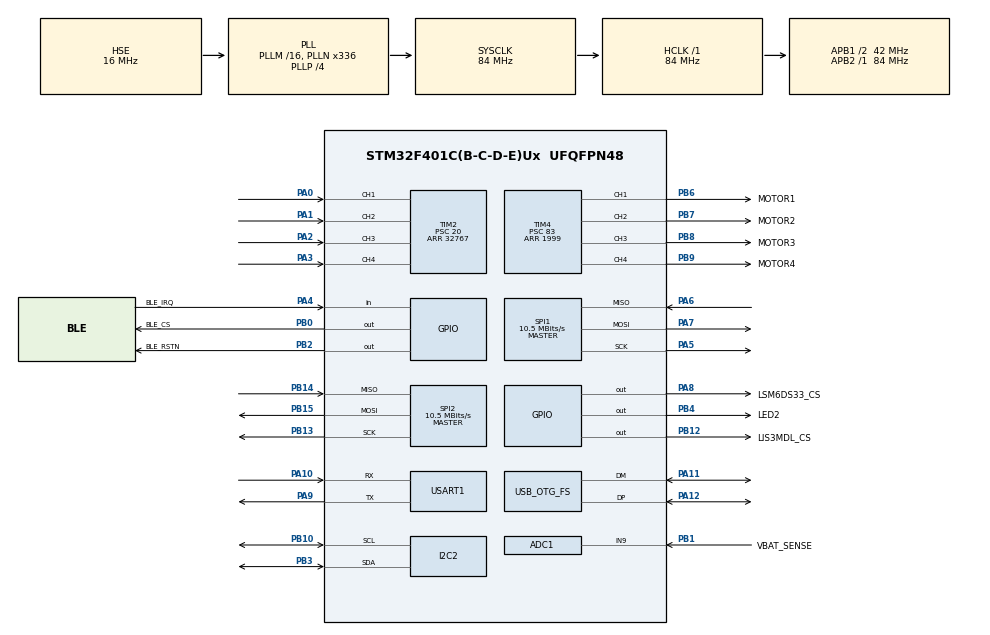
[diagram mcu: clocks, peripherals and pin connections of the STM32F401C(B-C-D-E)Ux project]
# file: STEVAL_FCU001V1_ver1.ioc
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ADC1.Channel-0\#ChannelRegularConversion=ADC_CHANNEL_9
ADC1.NbrOfConversionFlag=1
ADC1.Rank-0\#ChannelRegularConversion=1
ADC1.SamplingTime-0\#ChannelRegularConversion=ADC_SAMPLETIME_3CYCLES
ADC1.master=1
Mcu.Family=STM32F4
Mcu.Name=STM32F401C(B-C-D-E)Ux
Mcu.Package=UFQFPN48
NVIC.OTG_FS_IRQn=true\:3\:0\:true\:false\:true\:true\:true
NVIC.PriorityGroup=NVIC_PRIORITYGROUP_4
NVIC.SPI1_IRQn=true\:3\:0\:true\:false\:true\:true\:true
NVIC.SPI2_IRQn=true\:3\:0\:true\:false\:true\:true\:true
NVIC.TIM1_BRK_TIM9_IRQn=true\:3\:0\:true\:false\:true\:true\:true
NVIC.TIM2_IRQn=true\:2\:0\:true\:false\:true\:true\:true
NVIC.USART1_IRQn=true\:4\:0\:true\:false\:true\:true\:true
PA0-WKUP.GPIO_ModeDefaultPP=GPIO_MODE_AF_PP
PA0-WKUP.GPIO_PuPd=GPIO_PULLDOWN
PA0-WKUP.GPIO_Speed=GPIO_SPEED_FAST
PA0-WKUP.Signal=S_TIM2_CH1_ETR
PA1.GPIO_ModeDefaultPP=GPIO_MODE_AF_PP
PA1.GPIO_PuPd=GPIO_PULLDOWN
PA1.GPIO_Speed=GPIO_SPEED_FAST
PA1.Signal=S_TIM2_CH2
PA10.Mode=Asynchronous
PA10.Signal=USART1_RX
PA11.Mode=Device_Only
PA11.Signal=USB_OTG_FS_DM
PA12.Mode=Device_Only
PA12.Signal=USB_OTG_FS_DP
PA13.Mode=Serial-Wire
PA13.Signal=SYS_JTMS-SWDIO
PA14.Mode=Serial-Wire
PA14.Signal=SYS_JTCK-SWCLK
PA2.GPIO_ModeDefaultPP=GPIO_MODE_AF_PP
PA2.GPIO_PuPd=GPIO_PULLDOWN
PA2.GPIO_Speed=GPIO_SPEED_FAST
PA2.Signal=S_TIM2_CH3
PA3.GPIO_ModeDefaultPP=GPIO_MODE_AF_PP
PA3.GPIO_PuPd=GPIO_PULLDOWN
PA3.GPIO_Speed=GPIO_SPEED_FAST
PA3.Signal=S_TIM2_CH4
PA4.GPIO_Label=BLE_IRQ
PA4.GPIO_Mode=GPIO_MODE_INPUT
PA4.GPIO_PuPd=GPIO_NOPULL
PA4.Signal=GPIO_Input
PA5.Mode=Full_Duplex_Master
PA5.Signal=SPI1_SCK
PA6.Mode=Full_Duplex_Master
PA6.Signal=SPI1_MISO
PA7.Mode=Full_Duplex_Master
PA7.Signal=SPI1_MOSI
PA8.GPIO_Label=LSM6DS33_CS
PA8.GPIO_ModeDefaultOutputPP=GPIO_MODE_OUTPUT_PP
PA8.GPIO_PuPd=GPIO_NOPULL
PA8.GPIO_Speed=GPIO_SPEED_LOW
PA8.Signal=GPIO_Output
PA9.Mode=Asynchronous
PA9.Signal=USART1_TX
PB0.GPIO_Label=BLE_CS
PB0.GPIO_ModeDefaultOutputPP=GPIO_MODE_OUTPUT_PP
PB0.GPIO_PuPd=GPIO_NOPULL
PB0.GPIO_Speed=GPIO_SPEED_LOW
PB0.Signal=GPIO_Output
PB1.GPIO_Label=VBAT_SENSE
PB1.GPIO_Mode=GPIO_MODE_ANALOG
PB1.GPIO_PuPd=GPIO_NOPULL
PB1.Signal=ADCx_IN9
PB10.Mode=I2C
PB10.Signal=I2C2_SCL
PB12.GPIO_Label=LIS3MDL_CS
PB12.GPIO_ModeDefaultOutputPP=GPIO_MODE_OUTPUT_PP
PB12.GPIO_PuPd=GPIO_NOPULL
PB12.GPIO_Speed=GPIO_SPEED_LOW
PB12.Signal=GPIO_Output
PB13.Mode=Full_Duplex_Master
PB13.Signal=SPI2_SCK
PB14.Mode=Full_Duplex_Master
PB14.Signal=SPI2_MISO
PB15.Mode=Full_Duplex_Master
PB15.Signal=SPI2_MOSI
PB2.GPIO_Label=BLE_RSTN
PB2.GPIO_ModeDefaultOutputPP=GPIO_MODE_OUTPUT_PP
PB2.GPIO_PuPd=GPIO_NOPULL
PB2.GPIO_Speed=GPIO_SPEED_LOW
PB2.Signal=GPIO_Output
PB3.Mode=I2C
PB3.Signal=I2C2_SDA
PB4.GPIO_Label=LED2
PB4.GPIO_ModeDefaultOutputPP=GPIO_MODE_OUTPUT_OD
PB4.GPIO_PuPd=GPIO_NOPULL
PB4.GPIO_Speed=GPIO_SPEED_LOW
PB4.Signal=GPIO_Output
PB6.GPIO_Label=MOTOR1
PB6.GPIO_ModeDefaultPP=GPIO_MODE_AF_PP
PB6.GPIO_PuPd=GPIO_NOPULL
PB6.GPIO_Speed=GPIO_SPEED_LOW
PB6.Signal=S_TIM4_CH1
PB7.GPIO_Label=MOTOR2
PB7.GPIO_ModeDefaultPP=GPIO_MODE_AF_PP
PB7.GPIO_PuPd=GPIO_NOPULL
PB7.GPIO_Speed=GPIO_SPEED_LOW
PB7.Signal=S_TIM4_CH2
PB8.GPIO_Label=MOTOR3
PB8.GPIO_ModeDefaultPP=GPIO_MODE_AF_PP
PB8.GPIO_PuPd=GPIO_NOPULL
PB8.GPIO_Speed=GPIO_SPEED_LOW
PB8.Signal=S_TIM4_CH3
PB9.GPIO_Label=MOTOR4
PB9.GPIO_ModeDefaultPP=GPIO_MODE_AF_PP
PB9.GPIO_PuPd=GPIO_NOPULL
PB9.GPIO_Speed=GPIO_SPEED_LOW
PB9.Signal=S_TIM4_CH4
PH0\ -\ OSC_IN.Mode=HSE-External-Oscillator
PH0\ -\ OSC_IN.Signal=RCC_OSC_IN
PH1\ -\ OSC_OUT.Mode=HSE-External-Oscillator
PH1\ -\ OSC_OUT.Signal=RCC_OSC_OUT
ProjectManager.HeapSize=0x200
ProjectManager.StackSize=0x400
ProjectManager.TargetToolchain=EWARM V7
RCC.48MHZClocksFreq_Value=48000000
RCC.AHBFreq_Value=84000000
RCC.APB1CLKDivider=RCC_HCLK_DIV2
RCC.APB1Freq_Value=42000000
RCC.APB1TimFreq_Value=84000000
RCC.APB2Freq_Value=84000000
RCC.APB2TimFreq_Value=84000000
RCC.CortexFreq_Value=84000000
RCC.HCLKFreq_Value=84000000
RCC.HSE_VALUE=16000000
RCC.HSI_VALUE=16000000
RCC.LSE_VALUE=32768
RCC.PLLN=336
RCC.PLLP=RCC_PLLP_DIV4
RCC.PLLQ=7
RCC.SYSCLKFreq_VALUE=84000000
RCC.SYSCLKSource=RCC_SYSCLKSOURCE_PLLCLK
RCC.VCOOutputFreq_Value=336000000
SH.ADCx_IN9.0=ADC1_IN9,IN9
SH.S_TIM2_CH1_ETR.0=TIM2_CH1,Input_Capture1_from_TI1
SH.S_TIM2_CH2.0=TIM2_CH2,Input_Capture2_from_TI2
SH.S_TIM2_CH3.0=TIM2_CH3,Input_Capture3_from_TI3
SH.S_TIM2_CH4.0=TIM2_CH4,Input_Capture4_from_TI4
SH.S_TIM4_CH1.0=TIM4_CH1,PWM Generation1 CH1
SH.S_TIM4_CH2.0=TIM4_CH2,PWM Generation2 CH2
SH.S_TIM4_CH3.0=TIM4_CH3,PWM Generation3 CH3
SH.S_TIM4_CH4.0=TIM4_CH4,PWM Generation4 CH4
SPI1.BaudRatePrescaler=SPI_BAUDRATEPRESCALER_8
SPI1.CalculateBaudRate=10.5 MBits/s
SPI1.Direction=SPI_DIRECTION_2LINES
SPI1.Mode=SPI_MODE_MASTER
SPI1.VirtualType=VM_MASTER
SPI2.BaudRatePrescaler=SPI_BAUDRATEPRESCALER_4
SPI2.CalculateBaudRate=10.5 MBits/s
SPI2.Direction=SPI_DIRECTION_2LINES
SPI2.Mode=SPI_MODE_MASTER
SPI2.VirtualType=VM_MASTER
TIM2.Channel-Input_Capture1_from_TI1=TIM_CHANNEL_1
TIM2.Channel-Input_Capture2_from_TI2=TIM_CHANNEL_2
TIM2.Channel-Input_Capture3_from_TI3=TIM_CHANNEL_3
TIM2.Channel-Input_Capture4_from_TI4=TIM_CHANNEL_4
TIM2.ICPolarity_CH1=TIM_INPUTCHANNELPOLARITY_BOTHEDGE
TIM2.ICPolarity_CH2=TIM_INPUTCHANNELPOLARITY_BOTHEDGE
TIM2.ICPolarity_CH3=TIM_INPUTCHANNELPOLARITY_BOTHEDGE
TIM2.ICPolarity_CH4=TIM_INPUTCHANNELPOLARITY_BOTHEDGE
TIM2.Period=32767
TIM2.Prescaler=20
TIM4.Channel-PWM\ Generation1\ CH1=TIM_CHANNEL_1
TIM4.Channel-PWM\ Generation2\ CH2=TIM_CHANNEL_2
TIM4.Channel-PWM\ Generation3\ CH3=TIM_CHANNEL_3
TIM4.Channel-PWM\ Generation4\ CH4=TIM_CHANNEL_4
TIM4.Period=1999
TIM4.Prescaler=83
TIM9.Period=1999
TIM9.Prescaler=839
USART1.VirtualMode=VM_ASYNC
USB_DEVICE.USBD_HandleTypeDef=hUsbDeviceFS
USB_DEVICE.VirtualMode=Cdc
USB_DEVICE.VirtualModeFS=Cdc_FS
USB_OTG_FS.VirtualMode=Device_Only
VP_TIM2_VS_ClockSourceINT.Mode=Internal
VP_TIM4_VS_ClockSourceINT.Mode=Internal
VP_TIM9_VS_ClockSourceINT.Mode=Internal
VP_USB_DEVICE_VS_USB_DEVICE_CDC_FS.Mode=CDC_FS
board=custom

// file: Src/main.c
/**
  ******************************************************************************
  * File Name          : main.c
  * Description        : Main program body
  ******************************************************************************
  *
  * COPYRIGHT(c) 2021 STMicroelectronics
  *
  * Redistribution and use in source and binary forms, with or without modification,
  * are permitted provided that the following conditions are met:
  *   1. Redistributions of source code must retain the above copyright notice,
  *      this list of conditions and the following disclaimer.
  *   2. Redistributions in binary form must reproduce the above copyright notice,
  *      this list of conditions and the following disclaimer in the documentation
  *      and/or other materials provided with the distribution.
  *   3. Neither the name of STMicroelectronics nor the names of its contributors
  *      may be used to endorse or promote products derived from this software
  *      without specific prior written permission.
  *
  * THIS SOFTWARE IS PROVIDED BY THE COPYRIGHT HOLDERS AND CONTRIBUTORS "AS IS"
  * AND ANY EXPRESS OR IMPLIED WARRANTIES, INCLUDING, BUT NOT LIMITED TO, THE
  * IMPLIED WARRANTIES OF MERCHANTABILITY AND FITNESS FOR A PARTICULAR PURPOSE ARE
  * DISCLAIMED. IN NO EVENT SHALL THE COPYRIGHT HOLDER OR CONTRIBUTORS BE LIABLE
  * FOR ANY DIRECT, INDIRECT, INCIDENTAL, SPECIAL, EXEMPLARY, OR CONSEQUENTIAL
  * DAMAGES (INCLUDING, BUT NOT LIMITED TO, PROCUREMENT OF SUBSTITUTE GOODS OR
  * SERVICES; LOSS OF USE, DATA, OR PROFITS; OR BUSINESS INTERRUPTION) HOWEVER
  * CAUSED AND ON ANY THEORY OF LIABILITY, WHETHER IN CONTRACT, STRICT LIABILITY,
  * OR TORT (INCLUDING NEGLIGENCE OR OTHERWISE) ARISING IN ANY WAY OUT OF THE USE
  * OF THIS SOFTWARE, EVEN IF ADVISED OF THE POSSIBILITY OF SUCH DAMAGE.
  *
  ******************************************************************************
  */

#include "stm32f4xx_hal.h"
#include "usb_device.h"

/* USER CODE BEGIN Includes */
#include "main.h"
#include "debug.h"
#include "config_drone.h"
#include "timer.h"
#include "rc.h"
#include "steval_fcu001_v1.h"
#include "steval_fcu001_v1_accelero.h"
#include "steval_fcu001_v1_gyro.h"
#include "steval_fcu001_v1_magneto.h"
#include "steval_fcu001_v1_pressure.h"
#include "steval_fcu001_v1_temperature.h"
#include "sensor_data.h"
#include "quaternion.h"
#include "ahrs.h"
#include "flight_control.h"
#include "motor.h"
#include "ble_status.h"
#include "SPBTLE_RF.h"
#include "bluenrg_gatt_server.h"
#include "sensor_service.h"
#include "bluenrg_utils.h"
#include "TargetFeatures.h"

#include "bluenrg_l2cap_aci.h"

#include "vl53l0x_api.h"
#include "vl53l0x_platform.h"

/* USER CODE END Includes */

ADC_HandleTypeDef hadc1;

I2C_HandleTypeDef hi2c2;

SPI_HandleTypeDef hspi1;
SPI_HandleTypeDef hspi2;

TIM_HandleTypeDef htim2;
TIM_HandleTypeDef htim4;
TIM_HandleTypeDef htim9;

UART_HandleTypeDef huart1;

void SystemClock_Config(void);
static void MX_GPIO_Init(void);
static void SystemClock_Config(void);
static void MX_ADC1_Init(void);
static void MX_SPI1_Init(void);
static void MX_SPI2_Init(void);
static void MX_TIM2_Init(void);
static void MX_TIM4_Init(void);
static void MX_TIM9_Init(void);
static void MX_USART1_UART_Init(void);
static void MX_I2C2_Init(void);

/* USER CODE BEGIN 0 */
P_PI_PIDControlTypeDef pid;
EulerAngleTypeDef euler_rc, euler_ahrs, euler_rc_fil, euler_rc_y_pre[4], euler_rc_x_pre[4];
AxesRaw_TypeDef acc, gyro, mag, acc_fil_int, gyro_fil_int, mag_fil_int;
AxesRaw_TypeDef_Float acc_fil, acc_y_pre[4], acc_x_pre[4], acc_ahrs_FIFO[FIFO_Order], acc_FIFO[FIFO_Order], acc_ahrs;
AxesRaw_TypeDef_Float gyro_fil, gyro_y_pre[4], gyro_x_pre[4], gyro_ahrs_FIFO[FIFO_Order], gyro_FIFO[FIFO_Order], gyro_ahrs;
AxesRaw_TypeDef_Float mag_fil;
AxesRaw_TypeDef acc_off_calc, gyro_off_calc, acc_offset, gyro_offset;
EulerAngleTypeDef euler_ahrs_offset;
int sensor_init_cali = 0, sensor_init_cali_count = 0;
int gyro_cali_count = 0;

typedef struct
{
	int16_t X_Degree;
	int16_t Y_Degree;
	int16_t Z_Degree;
}Attitude_Degree;

typedef struct
{
	float a1, a2, b0, b1, b2;
}IIR_Coeff;

//sensor filter
//7hz, 800hz
//IIR_Coeff gyro_fil_coeff = {1.922286512869545,  -0.92519529534950118, 0.00072719561998898304, 0.0014543912399779661, 0.00072719561998898304};

//15hz, 800hz
//IIR_Coeff gyro_fil_coeff = {1.8337326589246479,  -0.84653197479202391, 0.003199828966843966, 0.0063996579336879321, 0.003199828966843966};

//30hz, 800hz
//IIR_Coeff gyro_fil_coeff = {1.66920314293119312,  -0.71663387350415764, 0.011857682643241156, 0.023715365286482312, 0.011857682643241156};

//60hz, 800hz
//IIR_Coeff gyro_fil_coeff = {1.3489677452527946 ,  -0.51398189421967566, 0.041253537241720303, 0.082507074483440607, 0.041253537241720303};

//100hz, 800hz
IIR_Coeff gyro_fil_coeff = {0.94280904158206336,  -0.33333333333333343, 0.09763107293781749 , 0.19526214587563498 , 0.09763107293781749 };

Attitude_Degree  Fly, Fly_offset, Fly_origin;
Gyro_Rad gyro_rad, gyro_degree, gyro_cali_degree;
MotorControlTypeDef motor_pwm;
int count1 = 0, count2 = 0;
AHRS_State_TypeDef ahrs;
float press, press_zero_level;
float temperature;

uint32_t VBAT_Sense;
float VBAT = 0;

uint8_t tmp_lis2mdl;
SensorAxes_t tmp_mag;

/* BLE */
extern uint8_t set_connectable;
uint16_t service_handle, dev_name_char_handle, appearance_char_handle;
uint32_t ConnectionBleStatus=0;
uint8_t BufferToWrite[256];
int32_t BytesToWrite;

/* Time of Flight sensor */
VL53L0X_RangingMeasurementData_t RangingMeasurementData;
VL53L0X_Dev_t *Dev;

/* USER CODE END 0 */

int main(void)
{

  /* USER CODE BEGIN 1 */
	int16_t pid_interval, i;

	int mytimcnt = 0;
	acc_fil.AXIS_X = 0;
	acc_fil.AXIS_Y = 0;
	acc_fil.AXIS_Z = 0;
	mag_fil.AXIS_X = 0;
	mag_fil.AXIS_Y = 0;
	mag_fil.AXIS_Z = 0;
	gyro_fil.AXIS_X = 0;
	gyro_fil.AXIS_Y = 0;
	gyro_fil.AXIS_Z = 0;
	euler_rc_fil.thx = 0;
	euler_rc_fil.thy = 0;
	euler_rc_fil.thz = 0;
	acc_off_calc.AXIS_X = 0;
	acc_off_calc.AXIS_Y = 0;
	acc_off_calc.AXIS_Z = 0;
	gyro_off_calc.AXIS_X = 0;
	gyro_off_calc.AXIS_Y = 0;
	gyro_off_calc.AXIS_Z = 0;
	acc_offset.AXIS_X = 0;
	acc_offset.AXIS_Y = 0;
	acc_offset.AXIS_Z = 1000;
	gyro_offset.AXIS_X = 0;
	gyro_offset.AXIS_Y = 0;
	gyro_offset.AXIS_Z = 0;
	euler_rc.thz = euler_ahrs.thz;
	euler_ahrs_offset.thx = 0;
	euler_ahrs_offset.thy = 0;

	for(i=0;i<4;i++)
	{
		acc_y_pre[i].AXIS_X = 0;
		acc_y_pre[i].AXIS_Y = 0;
		acc_y_pre[i].AXIS_Z = 0;
		acc_x_pre[i].AXIS_X = 0;
		acc_x_pre[i].AXIS_Y = 0;
		acc_x_pre[i].AXIS_Z = 0;
		gyro_y_pre[i].AXIS_X = 0;
		gyro_y_pre[i].AXIS_Y = 0;
		gyro_y_pre[i].AXIS_Z = 0;
		gyro_x_pre[i].AXIS_X = 0;
		gyro_x_pre[i].AXIS_Y = 0;
		gyro_x_pre[i].AXIS_Z = 0;
		euler_rc_y_pre[i].thx = 0;
		euler_rc_y_pre[i].thy = 0;
		euler_rc_y_pre[i].thz = 0;
		euler_rc_x_pre[i].thx = 0;
		euler_rc_x_pre[i].thy = 0;
		euler_rc_x_pre[i].thz = 0;
	}

  /* USER CODE END 1 */

  /* MCU Configuration----------------------------------------------------------*/

  /* Reset of all peripherals, Initializes the Flash interface and the Systick. */
  HAL_Init();

  /* Configure the system clock */
  SystemClock_Config();

  /* Initialize all configured peripherals */
  MX_GPIO_Init();
  SystemClock_Config();
  MX_ADC1_Init();
  MX_SPI1_Init();
  MX_SPI2_Init();
  MX_TIM2_Init();
  MX_TIM4_Init();
  MX_TIM9_Init();
  MX_USART1_UART_Init();
  MX_USB_DEVICE_Init();
  MX_I2C2_Init();

  /* USER CODE BEGIN 2 */

	PRINTF("STEVAL-FCU001V1 FW rev.1.0 - Sep 2017\n\n");

	//  Initialize Onboard LED
	BSP_LED_Init(LED1);
	BSP_LED_Init(LED2);
	BSP_LED_Off(LED1);
	BSP_LED_Off(LED2);

	/* Configure and disable all the Chip Select pins for sensors on SPI*/
	Sensor_IO_SPI_CS_Init_All();

	/* Initialize and Enable the available sensors on SPI*/
	initializeAllSensors();
	enableAllSensors();

	/* Initialize settings for 6-axis MEMS Accelerometer */
	/* ODR 6.6kHz */
	/* FS 4g */
	/* Analog Filter Bandwith @ 1500Hz */
	/* ODR/2 low pass filtered sent to composite filter */
	/* Low pass filter enabled @ ODR/400 */
	//BSP_ACCELERO_Set_ODR_Value(LSM6DSL_X_0_handle, 1660.0);       /* ODR 1.6kHz */
	BSP_ACCELERO_Set_ODR_Value(LSM6DSL_X_0_handle, 6660.0);       /* ODR 6.6kHz */
	BSP_ACCELERO_Set_FS(LSM6DSL_X_0_handle, FS_MID);                   /* FS 4g */
	//LSM6DSL_ACC_GYRO_W_InComposit(LSM6DSL_X_0_handle, LSM6DSL_ACC_GYRO_IN_ODR_DIV_4);   /* ODR/4 low pass filtered sent to composite filter */
	LSM6DSL_ACC_GYRO_W_InComposit(LSM6DSL_X_0_handle, LSM6DSL_ACC_GYRO_IN_ODR_DIV_2);   /* ODR/2 low pass filtered sent to composite filter */
	LSM6DSL_ACC_GYRO_W_LowPassFiltSel_XL(LSM6DSL_X_0_handle, LSM6DSL_ACC_GYRO_LPF2_XL_ENABLE); /* Enable LPF2 filter in composite filter block */
	//LSM6DSL_ACC_GYRO_W_HPCF_XL(LSM6DSL_X_0_handle, LSM6DSL_ACC_GYRO_HPCF_XL_DIV4); /* Low pass filter @ ODR/50 */
	LSM6DSL_ACC_GYRO_W_HPCF_XL(LSM6DSL_X_0_handle, LSM6DSL_ACC_GYRO_HPCF_XL_DIV100); /* Low pass filter @ ODR/100 */
	//LSM6DSL_ACC_GYRO_W_HPCF_XL(LSM6DSL_X_0_handle, LSM6DSL_ACC_GYRO_HPCF_XL_DIV400); /* Low pass filter @ ODR/400 */
	uint8_t tmp_6axis_reg_value;
	BSP_ACCELERO_Read_Reg(LSM6DSL_X_0_handle, 0x10, &tmp_6axis_reg_value);
	//tmp_6axis_reg_value = tmp_6axis_reg_value | 0x01;                             /* Set LSB to 1 >> Analog filter 400Hz*/
	tmp_6axis_reg_value = tmp_6axis_reg_value & 0xFE;                             /* Set LSB to 0 >> Analog filter 1500Hz*/
	BSP_ACCELERO_Write_Reg(LSM6DSL_X_0_handle, 0x10, tmp_6axis_reg_value);

	/* Initialize settings for 6-axis MEMS Gyroscope */
	/* FS 2000dps */
	/* ODR 416Hz */
	/* LPF1 FTYPE set to 10b */
	LSM6DSL_ACC_GYRO_W_LP_BW_G(LSM6DSL_G_0_handle, LSM6DSL_ACC_GYRO_LP_G_NARROW); /* LPF1 FTYPE set to 10b */
	BSP_GYRO_Write_Reg(LSM6DSL_G_0_handle, 0x11, 0x6C);                           /* Gyroscope settings: full scale 2000dps, ODR 416Hz */

	/* Initialize settings for Magnetometer settings (By default after reset is in in idle mode) */
	/* Register CFG_REG_A 0x60 = 0x8c */
	/* Register 0x61 = 0x02 */
	BSP_MAGNETO_Write_Reg(LIS2MDL_M_0_handle, 0x60, 0x8c);
	BSP_MAGNETO_Write_Reg(LIS2MDL_M_0_handle, 0x61, 0x02);

	/* Initialize Remote control*/
	init_remote_control();

	/* Initialize TIM2 for External Remocon RF receiver PWM Input*/
	HAL_TIM_IC_Start_IT(&htim2,TIM_CHANNEL_1);
	HAL_TIM_IC_Start_IT(&htim2,TIM_CHANNEL_2);
	HAL_TIM_IC_Start_IT(&htim2,TIM_CHANNEL_3);
	HAL_TIM_IC_Start_IT(&htim2,TIM_CHANNEL_4);

	/* Initialize TIM4 for Motors PWM Output*/
	HAL_TIM_PWM_Start(&htim4,TIM_CHANNEL_1);
	HAL_TIM_PWM_Start(&htim4,TIM_CHANNEL_2);
	HAL_TIM_PWM_Start(&htim4,TIM_CHANNEL_3);
	HAL_TIM_PWM_Start(&htim4,TIM_CHANNEL_4);

	/* Initialize General purpose TIM9 50Hz*/
	HAL_TIM_Base_Start_IT(&htim9);

	/* Initialize PID and set Motor PWM to zero */
	PIDControlInit(&pid);
	set_motor_pwm_zero(&motor_pwm);

	/* Setup a timer with 1ms interval */
	pid_interval = (int16_t)(PID_SAMPLING_TIME*1000.0f);
	SetupTimer(&tim, pid_interval);

	/* Start timer */
	StartTimer(&tim);
	ch = 0;
	ch_flag = 0;

	/* BLE communication */
	PRINTF("BLE communication initialization...\n\n");
	BlueNRG_Init();
	/* Initialize the BlueNRG Custom services */
	Init_BlueNRG_Custom_Services();

	/* Read initial value of Pressure and Temperature for Altitude estimation */
	BSP_PRESSURE_Get_Press(LPS22HB_P_0_handle, &press_zero_level);      /* Read the Pressure level when arming (0m reference) for altitude calculation */
	BSP_TEMPERATURE_Get_Temp(LPS22HB_T_0_handle, &temperature);         /* Read the Temperature when arming (0m reference) for altitude calculation */

	/* Time of Flight sensor */
	L53L0X_Error status = VL53L0X_ERROR_NONE;
	status = VL53L0X_SetDeviceAddress(Dev, 0x52);
	PRINTF("Status: %d\n", status);
	if (status==1){
		Dev->I2cDevAddr = 0x52;_
		PRINTF("Sensor address set");
	} else{
		PRINTF("Sensor address could not be set");
	}
	VL53L0X_DataInit(Dev);

  /* USER CODE END 2 */

  /* Infinite loop */
	while (1)
	{

  /* USER CODE BEGIN 3 */
		if(HCI_ProcessEvent) {
			HCI_ProcessEvent=0;
			HCI_Process();
		}

		if(set_connectable){
			/* Now update the BLE advertize data and make the Board connectable */
			setConnectable();
			set_connectable = FALSE;
		}

		if (tim9_event_flag == 1)
		{     // Timer9 event: frequency 800Hz
			tim9_event_flag = 0;

			count1++;

			acc_ahrs.AXIS_X = 0;
			acc_ahrs.AXIS_Y = 0;
			acc_ahrs.AXIS_Z = 0;
			gyro_ahrs.AXIS_X = 0;
			gyro_ahrs.AXIS_Y = 0;
			gyro_ahrs.AXIS_Z = 0;

			for(i=0;i<FIFO_Order;i++)
			{
				acc_ahrs.AXIS_X += acc_ahrs_FIFO[i].AXIS_X;
				acc_ahrs.AXIS_Y += acc_ahrs_FIFO[i].AXIS_Y;
				acc_ahrs.AXIS_Z += acc_ahrs_FIFO[i].AXIS_Z;
				gyro_ahrs.AXIS_X += gyro_ahrs_FIFO[i].AXIS_X;
				gyro_ahrs.AXIS_Y += gyro_ahrs_FIFO[i].AXIS_Y;
				gyro_ahrs.AXIS_Z += gyro_ahrs_FIFO[i].AXIS_Z;
			}

			acc_ahrs.AXIS_X *=FIFO_Order_Recip;
			acc_ahrs.AXIS_Y *=FIFO_Order_Recip;
			acc_ahrs.AXIS_Z *=FIFO_Order_Recip;
			gyro_ahrs.AXIS_X *=FIFO_Order_Recip;
			gyro_ahrs.AXIS_Y *=FIFO_Order_Recip;
			gyro_ahrs.AXIS_Z *=FIFO_Order_Recip;

			acc_fil_int.AXIS_X = (int32_t) acc_ahrs.AXIS_X;
			acc_fil_int.AXIS_Y = (int32_t) acc_ahrs.AXIS_Y;
			acc_fil_int.AXIS_Z = (int32_t) acc_ahrs.AXIS_Z;
			gyro_fil_int.AXIS_X = (int32_t) gyro_ahrs.AXIS_X;
			gyro_fil_int.AXIS_Y = (int32_t) gyro_ahrs.AXIS_Y;
			gyro_fil_int.AXIS_Z = (int32_t) gyro_ahrs.AXIS_Z;

			//PRINTF("%f %f %f %f\n", acc_ahrs.AXIS_X, acc_ahrs.AXIS_Y, gyro_ahrs.AXIS_X, gyro_ahrs.AXIS_Y);

			// AHRS update, quaternion & true gyro data are stored in ahrs
			ahrs_fusion_ag(&acc_ahrs, &gyro_ahrs, &ahrs);

			// Calculate euler angle drone
			QuaternionToEuler(&ahrs.q, &euler_ahrs);

			//BSP_LED_Toggle(LED1);

#ifdef REMOCON_BLE

			//          gRUD = (joydata[3]-128)*(-13);
			//          gTHR = joydata[4]*13;
			//          gAIL = (joydata[5]-128)*(-13);
			//          gELE = (joydata[6]-128)*13;
			gRUD = (joydata[2]-128)*(-13);
			gTHR = joydata[3]*13;
			gAIL = (joydata[4]-128)*(-5);
			gELE = (joydata[5]-128)*5;

			/* joydata[6]: seek bar data*/
			/* joydata[7]: additional button data
                        first bit: Takeoff (0 = Land,  1 = Takeoff)
                        second bit: Calibration When it changes status is active
                        third bit: Arming (0 = Disarmed,  1 = Armed) */
			gJoystick_status = joydata[7];
			if ((gJoystick_status&0x04)==0x04){
				rc_enable_motor = 1;
				fly_ready = 1;
				BSP_LED_On(LED2);
			}
			else {
				rc_enable_motor = 0;
				fly_ready = 0;
			}

			if (connected){
				rc_connection_flag = 1;                       /* BLE Remocon connected flag for enabling motor output */
				SendMotionData();
				SendBattEnvData();
				SendArmingData();
			}
			else{
				rc_connection_flag = 0;
				gTHR=0;
				rc_enable_motor = 0;
				fly_ready = 0;
				BSP_LED_Off(LED1);
				BSP_LED_Off(LED2);
			}

			if (joydata[7]&0x02){
				rc_cal_flag = 1;
				BSP_LED_On(LED1);
			}

			/* calibrate sensors */
			/* only when disarmed */
			if ((fly_ready == 0) && (sensor_init_cali == 1)){
				if ( (gTHR == 0) && (gELE < - RC_CAL_THRESHOLD) && (gAIL > RC_CAL_THRESHOLD) && (gRUD < - RC_CAL_THRESHOLD))
				{
					//rc_cal_flag = 1;
					sensor_init_cali = 0;
					BSP_LED_On(LED1);
				}
			}

#endif

#ifdef REMOCON_PWM
			if ( (gTHR == 0) && (gELE < - RC_CAL_THRESHOLD) && (gAIL > RC_CAL_THRESHOLD) && (gRUD < - RC_CAL_THRESHOLD))
			{
				rc_cal_flag = 1;
				BSP_LED_On(LED1);
			}

			if ( (gTHR == 0) && (gELE < - RC_CAL_THRESHOLD) && (gAIL < - RC_CAL_THRESHOLD) && (gRUD > RC_CAL_THRESHOLD))
			{
				rc_enable_motor = 1;
				fly_ready = 1;
				BSP_LED_On(LED2);
			}
#endif

			// Get target euler angle from remote control
			GetTargetEulerAngle(&euler_rc, &euler_ahrs);

			if(gTHR<MIN_THR)
			{
				euler_ahrs_offset.thx = 0;
				euler_ahrs_offset.thy = 0;
			}

			Fly_origin.X_Degree = (int16_t)(euler_ahrs.thx * 5730);
			Fly_origin.Y_Degree = (int16_t)(euler_ahrs.thy * 5730);
			Fly_origin.Z_Degree = (int16_t)(euler_ahrs.thz * 5730);

			if(gTHR<MIN_THR)
			{
				euler_rc.thz = 0;
				euler_ahrs.thz = 0;
			}

			euler_rc_fil.thx = euler_rc.thx;
			euler_rc_fil.thy = euler_rc.thy;
			euler_rc_fil.thz = euler_rc.thz;

			FlightControlPID_OuterLoop(&euler_rc_fil, &euler_ahrs, &ahrs, &pid);

			/* Added for debug on UART*/
			/* Remocon ELE, AIL, RUD, THR, AHRS Euler angle x and y axis, Remocon Euler angle x and y axis */
			//PRINTF("%d\t%d\t%d\t%d\t%f\t%f\t%f\t%f\n", gELE, gAIL, gRUD, gTHR, euler_ahrs.thx * 57.3f, euler_ahrs.thy * 57.3f, euler_rc.thx * 57.3f, euler_rc.thy * 57.3f);
			/* Remocon ELE, AIL, RUD, THR, Motor1_pwm, AHRS Euler angle x and y axis */
			//PRINTF("%d\t%d\t%d\t%d\t%f\t%f\t%f\t%f\t%f\n", gELE, gAIL, gRUD, gTHR, motor_pwm.motor1_pwm, euler_ahrs.thx * 57.3f, euler_ahrs.thy * 57.3f, euler_rc.thx * 57.3f, euler_rc.thy * 57.3f);
			//PRINTF("%d\t%d\t%d\t%d\n", gELE, gAIL, gRUD, gTHR);
			/* Remocon THR, Acc and Gyro FIFO data x and y axis, AHRS Euler angle x and y axis, Remocon Euler angle x and y axis*/
			//PRINTF("%d\t%f\t%f\t%f\t%f\t%f\t%f\t%f\t%f\n", gTHR, acc_ahrs.AXIS_X, acc_ahrs.AXIS_Y, gyro_ahrs.AXIS_X, gyro_ahrs.AXIS_Y, euler_ahrs.thx * 57.3f, euler_ahrs.thy * 57.3f, euler_rc.thx * 57.3f, euler_rc.thy * 57.3f);
			/* MEMS Accelerometer RAW data */
			//PRINTF("%d\t%d\t%d\t\n", acc.AXIS_X, acc.AXIS_Y, acc.AXIS_Z);

			/* Pressure data on UART for debug*/
			//PRINTF("Pressure [atm] = %f\n\n",pre);
			/* Magnetometer data on UART for debug*/
			//PRINTF("Magnetometer X = %d\tY = %d\tZ = %d\n\n", mag.AXIS_X, mag.AXIS_Y, mag.AXIS_Z);

		}

		if (HAL_GPIO_ReadPin(GPIOA, GPIO_PIN_1) == GPIO_PIN_SET)
		{
			ch_flag = 1;
		}

		if (isTimerEventExist(&tim))    // Check if a timer event is present
		{

			ClearTimer(&tim);           // Clear current event;

			count2++;

			mytimcnt++;
			if (rc_connection_flag && rc_enable_motor)
			{
				if (mytimcnt%50 == 0)
					BSP_LED_On(LED2);
			}
			else
			{
				if (mytimcnt%50 == 0)
					BSP_LED_Toggle(LED2);
			}
		}

	}
  /* USER CODE END 3 */

}

/** System Clock Configuration
*/
void SystemClock_Config(void)
{

  RCC_OscInitTypeDef RCC_OscInitStruct;
  RCC_ClkInitTypeDef RCC_ClkInitStruct;

  __PWR_CLK_ENABLE();

  __HAL_PWR_VOLTAGESCALING_CONFIG(PWR_REGULATOR_VOLTAGE_SCALE2);

  RCC_OscInitStruct.OscillatorType = RCC_OSCILLATORTYPE_HSE;
  RCC_OscInitStruct.HSEState = RCC_HSE_ON;
  RCC_OscInitStruct.PLL.PLLState = RCC_PLL_ON;
  RCC_OscInitStruct.PLL.PLLSource = RCC_PLLSOURCE_HSE;
  RCC_OscInitStruct.PLL.PLLM = 16;
  RCC_OscInitStruct.PLL.PLLN = 336;
  RCC_OscInitStruct.PLL.PLLP = RCC_PLLP_DIV4;
  RCC_OscInitStruct.PLL.PLLQ = 7;
  HAL_RCC_OscConfig(&RCC_OscInitStruct);

  RCC_ClkInitStruct.ClockType = RCC_CLOCKTYPE_SYSCLK|RCC_CLOCKTYPE_PCLK1;
  RCC_ClkInitStruct.SYSCLKSource = RCC_SYSCLKSOURCE_PLLCLK;
  RCC_ClkInitStruct.AHBCLKDivider = RCC_SYSCLK_DIV1;
  RCC_ClkInitStruct.APB1CLKDivider = RCC_HCLK_DIV2;
  RCC_ClkInitStruct.APB2CLKDivider = RCC_HCLK_DIV1;
  HAL_RCC_ClockConfig(&RCC_ClkInitStruct, FLASH_LATENCY_2);

  HAL_SYSTICK_Config(HAL_RCC_GetHCLKFreq()/1000);

  HAL_SYSTICK_CLKSourceConfig(SYSTICK_CLKSOURCE_HCLK);

}

/* ADC1 init function */
void MX_ADC1_Init(void)
{

  ADC_ChannelConfTypeDef sConfig;

    /**Configure the global features of the ADC (Clock, Resolution, Data Alignment and number of conversion)
    */
  hadc1.Instance = ADC1;
  hadc1.Init.ClockPrescaler = ADC_CLOCKPRESCALER_PCLK_DIV2;
  hadc1.Init.Resolution = ADC_RESOLUTION12b;
  hadc1.Init.ScanConvMode = DISABLE;
  hadc1.Init.ContinuousConvMode = DISABLE;
  hadc1.Init.DiscontinuousConvMode = DISABLE;
  hadc1.Init.ExternalTrigConvEdge = ADC_EXTERNALTRIGCONVEDGE_NONE;
  hadc1.Init.DataAlign = ADC_DATAALIGN_RIGHT;
  hadc1.Init.NbrOfConversion = 1;
  hadc1.Init.DMAContinuousRequests = DISABLE;
  hadc1.Init.EOCSelection = EOC_SINGLE_CONV;
  HAL_ADC_Init(&hadc1);

    /**Configure for the selected ADC regular channel its corresponding rank in the sequencer and its sample time.
    */
  sConfig.Channel = ADC_CHANNEL_9;
  sConfig.Rank = 1;
  sConfig.SamplingTime = ADC_SAMPLETIME_3CYCLES;
  HAL_ADC_ConfigChannel(&hadc1, &sConfig);

}

/* I2C2 init function */
void MX_I2C2_Init(void)
{

  hi2c2.Instance = I2C2;
  hi2c2.Init.ClockSpeed = 100000;
  hi2c2.Init.DutyCycle = I2C_DUTYCYCLE_2;
  hi2c2.Init.OwnAddress1 = 0;
  hi2c2.Init.AddressingMode = I2C_ADDRESSINGMODE_7BIT;
  hi2c2.Init.DualAddressMode = I2C_DUALADDRESS_DISABLED;
  hi2c2.Init.OwnAddress2 = 0;
  hi2c2.Init.GeneralCallMode = I2C_GENERALCALL_DISABLED;
  hi2c2.Init.NoStretchMode = I2C_NOSTRETCH_DISABLED;
  HAL_I2C_Init(&hi2c2);

}

/* SPI1 init function */
void MX_SPI1_Init(void)
{

  hspi1.Instance = SPI1;
  hspi1.Init.Mode = SPI_MODE_MASTER;
  hspi1.Init.Direction = SPI_DIRECTION_2LINES;
  hspi1.Init.DataSize = SPI_DATASIZE_8BIT;
  hspi1.Init.CLKPolarity = SPI_POLARITY_LOW;
  hspi1.Init.CLKPhase = SPI_PHASE_1EDGE;
  hspi1.Init.NSS = SPI_NSS_SOFT;
  hspi1.Init.BaudRatePrescaler = SPI_BAUDRATEPRESCALER_8;
  hspi1.Init.FirstBit = SPI_FIRSTBIT_MSB;
  hspi1.Init.TIMode = SPI_TIMODE_DISABLED;
  hspi1.Init.CRCCalculation = SPI_CRCCALCULATION_DISABLED;
  hspi1.Init.CRCPolynomial = 10;
  HAL_SPI_Init(&hspi1);

}

/* SPI2 init function */
void MX_SPI2_Init(void)
{

  hspi2.Instance = SPI2;
  hspi2.Init.Mode = SPI_MODE_MASTER;
  hspi2.Init.Direction = SPI_DIRECTION_2LINES;
  hspi2.Init.DataSize = SPI_DATASIZE_8BIT;
  hspi2.Init.CLKPolarity = SPI_POLARITY_LOW;
  hspi2.Init.CLKPhase = SPI_PHASE_1EDGE;
  hspi2.Init.NSS = SPI_NSS_SOFT;
  hspi2.Init.BaudRatePrescaler = SPI_BAUDRATEPRESCALER_4;
  hspi2.Init.FirstBit = SPI_FIRSTBIT_MSB;
  hspi2.Init.TIMode = SPI_TIMODE_DISABLED;
  hspi2.Init.CRCCalculation = SPI_CRCCALCULATION_DISABLED;
  hspi2.Init.CRCPolynomial = 10;
  HAL_SPI_Init(&hspi2);

}

/* TIM2 init function */
void MX_TIM2_Init(void)
{

  TIM_ClockConfigTypeDef sClockSourceConfig;
  TIM_MasterConfigTypeDef sMasterConfig;
  TIM_IC_InitTypeDef sConfigIC;

  htim2.Instance = TIM2;
  htim2.Init.Prescaler = 20;
  htim2.Init.CounterMode = TIM_COUNTERMODE_UP;
  htim2.Init.Period = 32767;
  htim2.Init.ClockDivision = TIM_CLOCKDIVISION_DIV1;
  HAL_TIM_Base_Init(&htim2);

  sClockSourceConfig.ClockSource = TIM_CLOCKSOURCE_INTERNAL;
  HAL_TIM_ConfigClockSource(&htim2, &sClockSourceConfig);

  HAL_TIM_IC_Init(&htim2);

  sMasterConfig.MasterOutputTrigger = TIM_TRGO_RESET;
  sMasterConfig.MasterSlaveMode = TIM_MASTERSLAVEMODE_DISABLE;
  HAL_TIMEx_MasterConfigSynchronization(&htim2, &sMasterConfig);

  sConfigIC.ICPolarity = TIM_INPUTCHANNELPOLARITY_BOTHEDGE;
  sConfigIC.ICSelection = TIM_ICSELECTION_DIRECTTI;
  sConfigIC.ICPrescaler = TIM_ICPSC_DIV1;
  sConfigIC.ICFilter = 0;
  HAL_TIM_IC_ConfigChannel(&htim2, &sConfigIC, TIM_CHANNEL_1);

  HAL_TIM_IC_ConfigChannel(&htim2, &sConfigIC, TIM_CHANNEL_2);

  HAL_TIM_IC_ConfigChannel(&htim2, &sConfigIC, TIM_CHANNEL_3);

  HAL_TIM_IC_ConfigChannel(&htim2, &sConfigIC, TIM_CHANNEL_4);

}

/* TIM4 init function */
void MX_TIM4_Init(void)
{

  TIM_ClockConfigTypeDef sClockSourceConfig;
  TIM_MasterConfigTypeDef sMasterConfig;
  TIM_OC_InitTypeDef sConfigOC;

  htim4.Instance = TIM4;
  htim4.Init.Prescaler = 83;
  htim4.Init.CounterMode = TIM_COUNTERMODE_UP;
  htim4.Init.Period = 1999;
  htim4.Init.ClockDivision = TIM_CLOCKDIVISION_DIV1;
  HAL_TIM_Base_Init(&htim4);

  sClockSourceConfig.ClockSource = TIM_CLOCKSOURCE_INTERNAL;
  HAL_TIM_ConfigClockSource(&htim4, &sClockSourceConfig);

  HAL_TIM_PWM_Init(&htim4);

  sMasterConfig.MasterOutputTrigger = TIM_TRGO_RESET;
  sMasterConfig.MasterSlaveMode = TIM_MASTERSLAVEMODE_DISABLE;
  HAL_TIMEx_MasterConfigSynchronization(&htim4, &sMasterConfig);

  sConfigOC.OCMode = TIM_OCMODE_PWM1;
  sConfigOC.Pulse = 0;
  sConfigOC.OCPolarity = TIM_OCPOLARITY_HIGH;
  sConfigOC.OCFastMode = TIM_OCFAST_DISABLE;
  HAL_TIM_PWM_ConfigChannel(&htim4, &sConfigOC, TIM_CHANNEL_1);

  HAL_TIM_PWM_ConfigChannel(&htim4, &sConfigOC, TIM_CHANNEL_2);

  HAL_TIM_PWM_ConfigChannel(&htim4, &sConfigOC, TIM_CHANNEL_3);

  HAL_TIM_PWM_ConfigChannel(&htim4, &sConfigOC, TIM_CHANNEL_4);

}

/* TIM9 init function */
void MX_TIM9_Init(void)
{

  TIM_ClockConfigTypeDef sClockSourceConfig;

  htim9.Instance = TIM9;
  htim9.Init.Prescaler = 839;
  htim9.Init.CounterMode = TIM_COUNTERMODE_UP;
  htim9.Init.Period = 1999;
  htim9.Init.ClockDivision = TIM_CLOCKDIVISION_DIV1;
  HAL_TIM_Base_Init(&htim9);

  sClockSourceConfig.ClockSource = TIM_CLOCKSOURCE_INTERNAL;
  HAL_TIM_ConfigClockSource(&htim9, &sClockSourceConfig);

}

/* USART1 init function */
void MX_USART1_UART_Init(void)
{

  huart1.Instance = USART1;
  huart1.Init.BaudRate = 115200;
  huart1.Init.WordLength = UART_WORDLENGTH_8B;
  huart1.Init.StopBits = UART_STOPBITS_1;
  huart1.Init.Parity = UART_PARITY_NONE;
  huart1.Init.Mode = UART_MODE_TX_RX;
  huart1.Init.HwFlowCtl = UART_HWCONTROL_NONE;
  huart1.Init.OverSampling = UART_OVERSAMPLING_16;
  HAL_UART_Init(&huart1);

}

/** Configure pins as
        * Analog
        * Input
        * Output
        * EVENT_OUT
        * EXTI
        * Free pins are configured automatically as Analog (this feature is enabled through
        * the Code Generation settings)
*/
void MX_GPIO_Init(void)
{

  GPIO_InitTypeDef GPIO_InitStruct;

  /* GPIO Ports Clock Enable */
  __GPIOC_CLK_ENABLE();
  __GPIOH_CLK_ENABLE();
  __GPIOA_CLK_ENABLE();
  __GPIOB_CLK_ENABLE();

  /*Configure GPIO pins : PC13 PC14 PC15 */
  GPIO_InitStruct.Pin = GPIO_PIN_13|GPIO_PIN_14|GPIO_PIN_15;
  GPIO_InitStruct.Mode = GPIO_MODE_ANALOG;
  GPIO_InitStruct.Pull = GPIO_NOPULL;
  HAL_GPIO_Init(GPIOC, &GPIO_InitStruct);

  /*Configure GPIO pin : PtPin */
  GPIO_InitStruct.Pin = BLE_IRQ_Pin;
  GPIO_InitStruct.Mode = GPIO_MODE_INPUT;
  GPIO_InitStruct.Pull = GPIO_NOPULL;
  HAL_GPIO_Init(BLE_IRQ_GPIO_Port, &GPIO_InitStruct);

  /*Configure GPIO pins : PBPin PBPin PBPin */
  GPIO_InitStruct.Pin = BLE_CS_Pin|BLE_RSTN_Pin|LIS3MDL_CS_Pin;
  GPIO_InitStruct.Mode = GPIO_MODE_OUTPUT_PP;
  GPIO_InitStruct.Pull = GPIO_NOPULL;
  GPIO_InitStruct.Speed = GPIO_SPEED_LOW;
  HAL_GPIO_Init(GPIOB, &GPIO_InitStruct);

  /*Configure GPIO pin : PtPin */
  GPIO_InitStruct.Pin = LSM6DS33_CS_Pin;
  GPIO_InitStruct.Mode = GPIO_MODE_OUTPUT_PP;
  GPIO_InitStruct.Pull = GPIO_NOPULL;
  GPIO_InitStruct.Speed = GPIO_SPEED_LOW;
  HAL_GPIO_Init(LSM6DS33_CS_GPIO_Port, &GPIO_InitStruct);

  /*Configure GPIO pin : PA15 */
  GPIO_InitStruct.Pin = GPIO_PIN_15;
  GPIO_InitStruct.Mode = GPIO_MODE_ANALOG;
  GPIO_InitStruct.Pull = GPIO_NOPULL;
  HAL_GPIO_Init(GPIOA, &GPIO_InitStruct);

  /*Configure GPIO pin : PtPin */
  GPIO_InitStruct.Pin = LED2_Pin;
  GPIO_InitStruct.Mode = GPIO_MODE_OUTPUT_OD;
  GPIO_InitStruct.Pull = GPIO_NOPULL;
  GPIO_InitStruct.Speed = GPIO_SPEED_LOW;
  HAL_GPIO_Init(LED2_GPIO_Port, &GPIO_InitStruct);

  /*Configure GPIO pin : PB5 */
  GPIO_InitStruct.Pin = GPIO_PIN_5;
  GPIO_InitStruct.Mode = GPIO_MODE_ANALOG;
  GPIO_InitStruct.Pull = GPIO_NOPULL;
  HAL_GPIO_Init(GPIOB, &GPIO_InitStruct);

}

/* USER CODE BEGIN 4 */
/*
 *  Handle Timer9 interrupt @ 800Hz
 *  Set the event flag and increase time index
 */
void HAL_TIM_PeriodElapsedCallback(TIM_HandleTypeDef *htim)
{
	if(sensor_init_cali == 0)
	{
		sensor_init_cali_count++;

		if(sensor_init_cali_count > 800)
		{
			// Read sensor data and prepare for specific coodinate system
			ReadSensorRawData(LSM6DSL_X_0_handle, LSM6DSL_G_0_handle, LIS2MDL_M_0_handle, LPS22HB_P_0_handle, &acc, &gyro, &mag, &press);

			acc_off_calc.AXIS_X += acc.AXIS_X;
			acc_off_calc.AXIS_Y += acc.AXIS_Y;
			acc_off_calc.AXIS_Z += acc.AXIS_Z;

			gyro_off_calc.AXIS_X += gyro.AXIS_X;
			gyro_off_calc.AXIS_Y += gyro.AXIS_Y;
			gyro_off_calc.AXIS_Z += gyro.AXIS_Z;

			if (sensor_init_cali_count >= 1600)
			{
				acc_offset.AXIS_X = (int32_t) (acc_off_calc.AXIS_X * 0.00125f);
				acc_offset.AXIS_Y = (int32_t) (acc_off_calc.AXIS_Y * 0.00125f);
				acc_offset.AXIS_Z = (int32_t) (acc_off_calc.AXIS_Z * 0.00125f);

				gyro_offset.AXIS_X = (int32_t) (gyro_off_calc.AXIS_X * 0.00125f);
				gyro_offset.AXIS_Y = (int32_t) (gyro_off_calc.AXIS_Y * 0.00125f);
				gyro_offset.AXIS_Z = (int32_t) (gyro_off_calc.AXIS_Z * 0.00125f);

				acc_off_calc.AXIS_X = 0;
				acc_off_calc.AXIS_Y = 0;
				acc_off_calc.AXIS_Z = 0;
				gyro_off_calc.AXIS_X = 0;
				gyro_off_calc.AXIS_Y = 0;
				gyro_off_calc.AXIS_Z = 0;

				sensor_init_cali_count = 0;
				sensor_init_cali = 1;
			}
		}
	}

	if(sensor_init_cali == 1)
	{
		tim9_cnt++;
		tim9_cnt2++;

		// Read sensor data and prepare for specific coodinate system
		ReadSensorRawData(LSM6DSL_X_0_handle, LSM6DSL_G_0_handle, LIS2MDL_M_0_handle, LPS22HB_P_0_handle, &acc, &gyro, &mag, &press);

		if (rc_cal_flag == 1)
		{
			acc_off_calc.AXIS_X += acc.AXIS_X;
			acc_off_calc.AXIS_Y += acc.AXIS_Y;
			acc_off_calc.AXIS_Z += acc.AXIS_Z;

			gyro_off_calc.AXIS_X += gyro.AXIS_X;
			gyro_off_calc.AXIS_Y += gyro.AXIS_Y;
			gyro_off_calc.AXIS_Z += gyro.AXIS_Z;

			rc_cal_cnt++;

			if (rc_cal_cnt >= 800)
			{
				acc_offset.AXIS_X = (int32_t) (acc_off_calc.AXIS_X * 0.00125f);
				acc_offset.AXIS_Y = (int32_t) (acc_off_calc.AXIS_Y * 0.00125f);
				acc_offset.AXIS_Z = (int32_t) (acc_off_calc.AXIS_Z * 0.00125f);

				gyro_offset.AXIS_X = (int32_t) (gyro_off_calc.AXIS_X * 0.00125f);
				gyro_offset.AXIS_Y = (int32_t) (gyro_off_calc.AXIS_Y * 0.00125f);
				gyro_offset.AXIS_Z = (int32_t) (gyro_off_calc.AXIS_Z * 0.00125f);

				acc_off_calc.AXIS_X = 0;
				acc_off_calc.AXIS_Y = 0;
				acc_off_calc.AXIS_Z = 0;
				gyro_off_calc.AXIS_X = 0;
				gyro_off_calc.AXIS_Y = 0;
				gyro_off_calc.AXIS_Z = 0;

				rc_cal_cnt = 0;
				rc_cal_flag = 0;
			}
		}

		acc.AXIS_X -= acc_offset.AXIS_X;
		acc.AXIS_Y -= acc_offset.AXIS_Y;
		acc.AXIS_Z -= (acc_offset.AXIS_Z - 1000);
		gyro.AXIS_X -= gyro_offset.AXIS_X;
		gyro.AXIS_Y -= gyro_offset.AXIS_Y;
		gyro.AXIS_Z -= gyro_offset.AXIS_Z;

		// Save filtered data to acc_FIFO
		acc_FIFO[tim9_cnt2-1].AXIS_X = acc.AXIS_X;
		acc_FIFO[tim9_cnt2-1].AXIS_Y = acc.AXIS_Y;
		acc_FIFO[tim9_cnt2-1].AXIS_Z = acc.AXIS_Z;

		// IIR Filtering on gyro
		gyro_fil.AXIS_X = gyro_fil_coeff.b0*gyro.AXIS_X + gyro_fil_coeff.b1*gyro_x_pre[0].AXIS_X + gyro_fil_coeff.b2*gyro_x_pre[1].AXIS_X
				+ gyro_fil_coeff.a1*gyro_y_pre[0].AXIS_X + gyro_fil_coeff.a2*gyro_y_pre[1].AXIS_X;
		gyro_fil.AXIS_Y = gyro_fil_coeff.b0*gyro.AXIS_Y + gyro_fil_coeff.b1*gyro_x_pre[0].AXIS_Y + gyro_fil_coeff.b2*gyro_x_pre[1].AXIS_Y
				+ gyro_fil_coeff.a1*gyro_y_pre[0].AXIS_Y + gyro_fil_coeff.a2*gyro_y_pre[1].AXIS_Y;
		gyro_fil.AXIS_Z = gyro_fil_coeff.b0*gyro.AXIS_Z + gyro_fil_coeff.b1*gyro_x_pre[0].AXIS_Z + gyro_fil_coeff.b2*gyro_x_pre[1].AXIS_Z
				+ gyro_fil_coeff.a1*gyro_y_pre[0].AXIS_Z + gyro_fil_coeff.a2*gyro_y_pre[1].AXIS_Z;
		// Shift IIR filter state
		for(int i=1;i>0;i--)
		{
			gyro_x_pre[i].AXIS_X = gyro_x_pre[i-1].AXIS_X;
			gyro_x_pre[i].AXIS_Y = gyro_x_pre[i-1].AXIS_Y;
			gyro_x_pre[i].AXIS_Z = gyro_x_pre[i-1].AXIS_Z;
			gyro_y_pre[i].AXIS_X = gyro_y_pre[i-1].AXIS_X;
			gyro_y_pre[i].AXIS_Y = gyro_y_pre[i-1].AXIS_Y;
			gyro_y_pre[i].AXIS_Z = gyro_y_pre[i-1].AXIS_Z;
		}
		gyro_x_pre[0].AXIS_X = gyro.AXIS_X;
		gyro_x_pre[0].AXIS_Y = gyro.AXIS_Y;
		gyro_x_pre[0].AXIS_Z = gyro.AXIS_Z;
		gyro_y_pre[0].AXIS_X = gyro_fil.AXIS_X;
		gyro_y_pre[0].AXIS_Y = gyro_fil.AXIS_Y;
		gyro_y_pre[0].AXIS_Z = gyro_fil.AXIS_Z;

		//  Save filtered data to gyro_FIFO
		gyro_FIFO[tim9_cnt2-1].AXIS_X = gyro_fil.AXIS_X;
		gyro_FIFO[tim9_cnt2-1].AXIS_Y = gyro_fil.AXIS_Y;
		gyro_FIFO[tim9_cnt2-1].AXIS_Z = gyro_fil.AXIS_Z;

		if(tim9_cnt2 == FIFO_Order)
		{
			tim9_cnt2 = 0;
			tim9_event_flag = 1;
			for(int i=0;i<FIFO_Order;i++)
			{
				acc_ahrs_FIFO[i].AXIS_X = acc_FIFO[i].AXIS_X;
				acc_ahrs_FIFO[i].AXIS_Y = acc_FIFO[i].AXIS_Y;
				acc_ahrs_FIFO[i].AXIS_Z = acc_FIFO[i].AXIS_Z;
				gyro_ahrs_FIFO[i].AXIS_X = gyro_FIFO[i].AXIS_X;
				gyro_ahrs_FIFO[i].AXIS_Y = gyro_FIFO[i].AXIS_Y;
				gyro_ahrs_FIFO[i].AXIS_Z = gyro_FIFO[i].AXIS_Z;
			}
		}

		gyro_rad.gx = ((float)gyro_fil.AXIS_X)*((float)COE_MDPS_TO_RADPS);
		gyro_rad.gy = ((float)gyro_fil.AXIS_Y)*((float)COE_MDPS_TO_RADPS);
		gyro_rad.gz = ((float)gyro_fil.AXIS_Z)*((float)COE_MDPS_TO_RADPS);

		euler_ahrs.thz += gyro_rad.gz*PID_SAMPLING_TIME;

		if(gTHR<MIN_THR)
		{
			euler_rc.thz = 0;
			euler_ahrs.thz = 0;
		}

		if (rc_connection_flag && rc_enable_motor)
		{   // Do PID Control
			FlightControlPID_innerLoop(&euler_rc_fil, &gyro_rad, &ahrs, &pid, &motor_pwm);
		}
		else
		{
			// set motor output zero
			set_motor_pwm_zero(&motor_pwm);
		}

		if(gTHR<MIN_THR)
		{
			set_motor_pwm_zero(&motor_pwm);
		}

		set_motor_pwm(&motor_pwm);      /* To comment if want to debug remocon calibration switching off the motors */
	}
}

/**
 * @brief  Initialize all sensors
 * @param  None
 * @retval None
 */
static void initializeAllSensors( void )
{
	if (BSP_ACCELERO_Init( LSM6DSL_X_0, &LSM6DSL_X_0_handle ) != COMPONENT_OK)
	{
		while(1);
	}

	if (BSP_GYRO_Init( LSM6DSL_G_0, &LSM6DSL_G_0_handle ) != COMPONENT_OK)
	{
		while(1);
	}

	if (BSP_MAGNETO_Init( LIS2MDL_M_0, &LIS2MDL_M_0_handle ) != COMPONENT_OK)
	{
		while(1);
	}

	if (BSP_PRESSURE_Init( LPS22HB_P_0, &LPS22HB_P_0_handle ) != COMPONENT_OK)
	{
		while(1);
	}

	if (BSP_TEMPERATURE_Init( LPS22HB_T_0, &LPS22HB_T_0_handle ) != COMPONENT_OK)
	{
		while(1);
	}

}

/**
 * @brief  Enable all sensors
 * @param  None
 * @retval None
 */
void enableAllSensors( void )
{
	BSP_ACCELERO_Sensor_Enable( LSM6DSL_X_0_handle );
	PRINTF("LSM6DSL MEMS Accelerometer initialized and enabled\n");
	BSP_GYRO_Sensor_Enable( LSM6DSL_G_0_handle );
	PRINTF("LSM6DSL MEMS Gyroscope initialized and enabled\n");
	BSP_MAGNETO_Sensor_Enable( LIS2MDL_M_0_handle );
	PRINTF("LIS2MDL Magnetometer initialized and enabled\n");
	BSP_PRESSURE_Sensor_Enable( LPS22HB_P_0_handle );
	PRINTF("LPS22HB Pressure sensor initialized and enabled\n");
	BSP_TEMPERATURE_Sensor_Enable( LPS22HB_T_0_handle );
	PRINTF("LPS22HB Temperature sensor initialized and enabled\n");
}

void BlueNRG_Init(void)
{

	int ret = 1;
	uint8_t  hwVersion=0;
	uint16_t fwVersion=0;

	PRINTF("****** START BLE TESTS ******\r\n");
	BNRG_SPI_Init();

	/* Commented on Jan 15, 2020 */
	// uint8_t tmp_bdaddr[6]= {MAC_BLUEMS};
	// int32_t i;
	/* Commented on Jan 15, 2020 */
	//for(i=0;i<6;i++)
	//  bdaddr[i] = tmp_bdaddr[i];

	/* Added on Jan 15, 2020 */
	bdaddr[0] = (STM32_UUID[1]>>24)&0xFF;
	bdaddr[1] = (STM32_UUID[0]    )&0xFF;
	bdaddr[2] = (STM32_UUID[2] >>8)&0xFF;
	bdaddr[3] = (STM32_UUID[0]>>16)&0xFF;
	bdaddr[4] = (hwVersion > 0x30) ?
			((((0x34-48)*10) + (0x30-48)+100)&0xFF) :
			((((0x34-48)*10) + (0x30-48)    )&0xFF) ;
	bdaddr[5] = 0xC4; /* for a Legal BLE Random MAC */

	/* Initialize the BlueNRG HCI */
	HCI_Init();

	/* Reset BlueNRG hardware */
	BlueNRG_RST();

	/* get the BlueNRG HW and FW versions */
	PRINTF("\r\nReading BlueNRG version ...\r\n");
	if (getBlueNRGVersion(&hwVersion, &fwVersion)== BLE_STATUS_SUCCESS)
	{

		/*
		 * Reset BlueNRG again otherwise it will fail.
		 */
		BlueNRG_RST();

		//PRINTF("Setting Pubblic Address...\r\n");
		/* Commented on Jan 15, 2020 */
		//ret = aci_hal_write_config_data(CONFIG_DATA_PUBADDR_OFFSET,
		//                                CONFIG_DATA_PUBADDR_LEN,
		//                                bdaddr);
		//if(ret){
		//  testStatus = COMPONENT_ERROR;
		//  PRINTF("\r\nSetting Pubblic BD_ADDR failed *****\r\n");
		//  goto fail;
		//}

		PRINTF("GATT Initializzation...\r\n");
		ret = aci_gatt_init();
		if(ret){
			testStatus = COMPONENT_ERROR;
			PRINTF("\r\nGATT_Init failed ****\r\n");
			goto fail;
		}

		//    ret = aci_gatt_update_char_value(service_handle, dev_name_char_handle, 0,
		//                                     7/*strlen(BoardName)*/, (uint8_t *)BoardName);
		//
		//    if(ret){
		//       PRINTF("\r\naci_gatt_update_char_value failed\r\n");
		//      while(1);
		//    }

		/* Set the GAP INIT like X-NUCLEO-IDB05A1 eval board  since using same SPBTLE_RF module*/
		ret = aci_gap_init_IDB05A1(GAP_PERIPHERAL_ROLE_IDB05A1, 0, 0x07, &service_handle, &dev_name_char_handle, &appearance_char_handle);

		if(ret != BLE_STATUS_SUCCESS){
			PRINTF("\r\nGAP_Init failed\r\n");
			goto fail;
		}

		// Added Jan 10th
		ret = hci_le_set_random_address(bdaddr);
		// Added Jan 10th
		const char BoardName[7] = {NAME_BLUEMS};
		// Added Jan 10th
		ret = aci_gatt_update_char_value(service_handle, dev_name_char_handle, 0,
				7/*strlen(BoardName)*/, (uint8_t *)BoardName);

		PRINTF("GAP setting Authentication ....\r\n");
		ret = aci_gap_set_auth_requirement(MITM_PROTECTION_REQUIRED,
				OOB_AUTH_DATA_ABSENT,
				NULL, 7, 16,
				USE_FIXED_PIN_FOR_PAIRING, 123456,
				BONDING);
		if (ret != BLE_STATUS_SUCCESS) {
			testStatus = COMPONENT_ERROR;
			PRINTF("\r\nGAP setting Authentication failed ******\r\n");
			goto fail;
		}

		PRINTF("SERVER: BLE Stack Initialized \r\n"
				"Board HWver=%d, FWver=%d.%d.%c\r\n"
				"BoardMAC = %x:%x:%x:%x:%x:%x\r\n",
				hwVersion,
				fwVersion>>8,
				(fwVersion>>4)&0xF,
				(hwVersion > 0x30) ? ('a'+(fwVersion&0xF)-1) : 'a',
						bdaddr[5],bdaddr[4],bdaddr[3],bdaddr[2],bdaddr[1],bdaddr[0]);

		/* Set output power level */
		aci_hal_set_tx_power_level(1,4);    /* -2.1dBm */

		ret = Add_ConsoleW2ST_Service();
		if(ret == BLE_STATUS_SUCCESS)
			PRINTF("Console Service W2ST added successfully\r\n");
		else{
			testStatus = COMPONENT_ERROR;
			PRINTF("\r\nError while adding Console Service W2ST\r\n");
		}

		ret = Add_ConfigW2ST_Service();
		if(ret == BLE_STATUS_SUCCESS)
			PRINTF("Config  Service W2ST added successfully\r\n");
		else{
			testStatus = COMPONENT_ERROR;
			PRINTF("\r\nError while adding Config Service W2ST\r\n");
		}

		PRINTF("\r\nAll test passed!\r\n");
	}
	else {
		testStatus = COMPONENT_ERROR;
		PRINTF("\r\nError in BlueNRG tests. ******\r\n");
	}
	PRINTF("****** END BLE TESTS ******\r\n");
	return;

	fail:
	testStatus = COMPONENT_ERROR;
	return;
}

/** @brief Initialize all the Custom BlueNRG services
 * @param None
 * @retval None
 */
static void Init_BlueNRG_Custom_Services(void)
{
	int ret;

	ret = Add_HWServW2ST_Service();
	if(ret == BLE_STATUS_SUCCESS) {
		PRINTF("HW      Service W2ST added successfully\r\n");
	} else {
		PRINTF("\r\nError while adding HW Service W2ST\r\n");
	}

	ret = Add_ConsoleW2ST_Service();
	if(ret == BLE_STATUS_SUCCESS) {
		PRINTF("Console Service W2ST added successfully\r\n");
	} else {
		PRINTF("\r\nError while adding Console Service W2ST\r\n");
	}

	ret = Add_ConfigW2ST_Service();
	if(ret == BLE_STATUS_SUCCESS) {
		PRINTF("Config  Service W2ST added successfully\r\n");
	} else {
		PRINTF("\r\nError while adding Config Service W2ST\r\n");
	}
}

/**
 * @brief  Send Motion Data Acc/Mag/Gyro to BLE
 * @param  None
 * @retval None
 */
static void SendMotionData(void)
{
	SensorAxes_t ACC_Value;
	SensorAxes_t GYR_Value;
	SensorAxes_t MAG_Value;

	ACC_Value.AXIS_X = acc.AXIS_X;
	ACC_Value.AXIS_Y = acc.AXIS_Y;
	ACC_Value.AXIS_Z = acc.AXIS_Z;
	GYR_Value.AXIS_X = gyro.AXIS_X;
	GYR_Value.AXIS_Y = gyro.AXIS_Y;
	GYR_Value.AXIS_Z = gyro.AXIS_Z;
	MAG_Value.AXIS_X = mag.AXIS_X;
	MAG_Value.AXIS_Y = mag.AXIS_Y;
	MAG_Value.AXIS_Z = mag.AXIS_Z;

	/*Debug */
	//PRINTF("ACC[X, Y, Z]: %d\t%d\t%d\t\n", ACC_Value.AXIS_X, ACC_Value.AXIS_Y, ACC_Value.AXIS_Z);
	//PRINTF("GYRO[X, Y, Z]: %d\t%d\t%d\t\n", GYR_Value.AXIS_X, GYR_Value.AXIS_Y, GYR_Value.AXIS_Z);
	//PRINTF("MAG[X, Y, Z]: %d\t%d\t%d\t\n", MAG_Value.AXIS_X, MAG_Value.AXIS_Y, MAG_Value.AXIS_Z);

	AccGyroMag_Update(&ACC_Value,&GYR_Value,&MAG_Value);

}

static void SendBattEnvData(void)
{
	int32_t decPart, intPart;
	int32_t PressToSend=0;
	uint16_t BattToSend=0;
	int16_t RSSIToSend=0, TempToSend=0;
	int8_t rssi;
	uint16_t conn_handle;

	HAL_ADC_Start(&hadc1);
	if (HAL_ADC_PollForConversion(&hadc1, 1000000) == HAL_OK)
	{
		VBAT_Sense = HAL_ADC_GetValue(&hadc1);
		VBAT = (((VBAT_Sense*3.3)/4095)*(BAT_RUP+BAT_RDW))/BAT_RDW;
		//PRINTF("Battery voltage = %fV\n\n", VBAT);
	}
	HAL_ADC_Stop(&hadc1);

	MCR_BLUEMS_F2I_2D(press, intPart, decPart);
	PressToSend=intPart*100+decPart;
	// inserted by TP
	// VBAT percentage between 3.7 and 4.2V
	VBAT = ((VBAT - 3.7f)*100.0f)/(4.2f-3.7f);
	if (VBAT < 0) VBAT = 0;
	MCR_BLUEMS_F2I_1D(((int32_t)(VBAT)), intPart, decPart);
	BattToSend = intPart*10+decPart;
	if (BattToSend > 1000){
		BattToSend =1000;
	}
	MCR_BLUEMS_F2I_1D(temperature, intPart, decPart);
	TempToSend = intPart*10+decPart;

	hci_read_rssi(&conn_handle, &rssi);
	RSSIToSend = (int16_t)rssi*10;

	Batt_Env_RSSI_Update(PressToSend,BattToSend,(int16_t) TempToSend,RSSIToSend );

}

static void SendArmingData(void)
{
	ARMING_Update(rc_enable_motor);
}

/* USER CODE END 4 */

/************************ (C) COPYRIGHT STMicroelectronics *****END OF FILE****/
